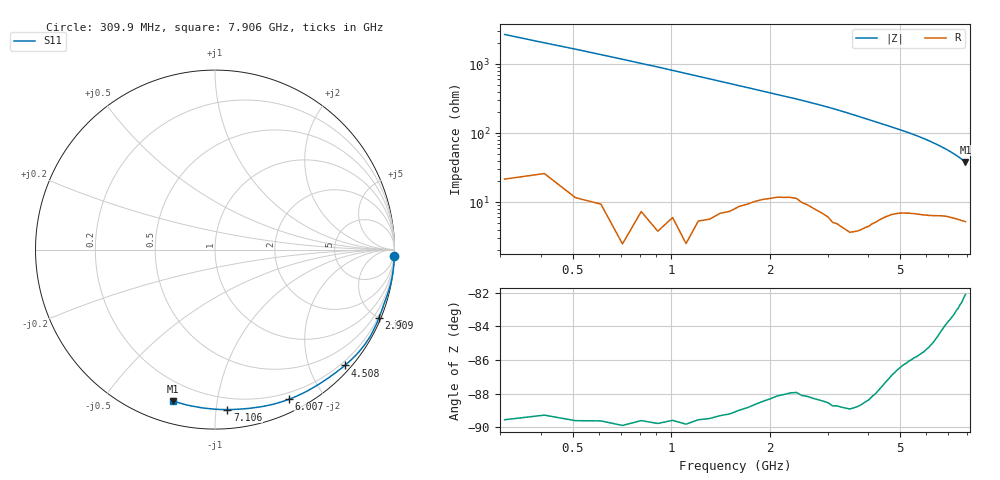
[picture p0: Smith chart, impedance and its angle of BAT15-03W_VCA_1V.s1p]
! Infineon Technologies  Discrete & RF Semiconductors
! BAT15-03W-E6327
! VCA = 1 V
! One-Port S-Parameters
# Hz  S  MA  R  50
!f  S11
!Hz  Mag  Ang
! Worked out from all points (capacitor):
!   77 points, 309.9 MHz to 7.906 GHz, reference 50 ohm
!   read as one part to ground: C = 191 fF near 309.9 MHz
!   lowest |Z| = 38 ohm at 7.906 GHz (marker M1)
!   S11 on the Smith chart (normalised r, x): 309.9 MHz: 0, -54; 2.909 GHz: 0.14, -4.96; 4.508 GHz: 0.12, -2.62; 6.007 GHz: 0.13, -1.60; 7.106 GHz: 0.12, -1.07; 7.906 GHz: 0.10, -0.75
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3.0985e8  0.9997 -2.1
9.0955e8  0.9995 -6.3
1.30935e9  0.9985 -9.4
1.70915e9  0.9956 -12.5
2.2089e9  0.9903 -16.6
2.4088e9  0.9888 -18.2
2.90855e9  0.9895 -22.8
3.2084e9  0.9903 -25.9
3.50825e9  0.9907 -29.3
3.70815e9  0.9887 -31.7
4.10795e9  0.9809 -36.6
4.50775e9  0.9693 -41.7
4.70765e9  0.963 -44.3
5.10745e9  0.9518 -49.7
5.4073e9  0.9448 -54.0
5.6072e9  0.9403 -57.0
5.8071e9  0.9354 -60.3
6.007e9  0.93 -63.7
6.2069e9  0.9241 -67.3
6.30685e9  0.9209 -69.2
6.50675e9  0.9136 -73.0
6.70665e9  0.9062 -77.0
7.0065e9  0.8966 -83.3
7.10645e9  0.8942 -85.6
7.30635e9  0.8892 -90.2
7.50625e9  0.8843 -95.1
7.70615e9  0.88 -100.2
7.90605e9  0.8755 -105.6
